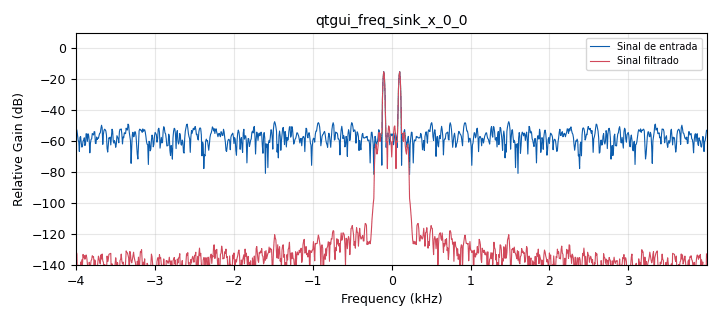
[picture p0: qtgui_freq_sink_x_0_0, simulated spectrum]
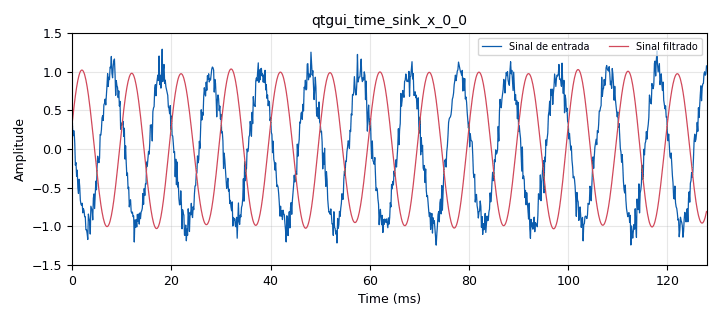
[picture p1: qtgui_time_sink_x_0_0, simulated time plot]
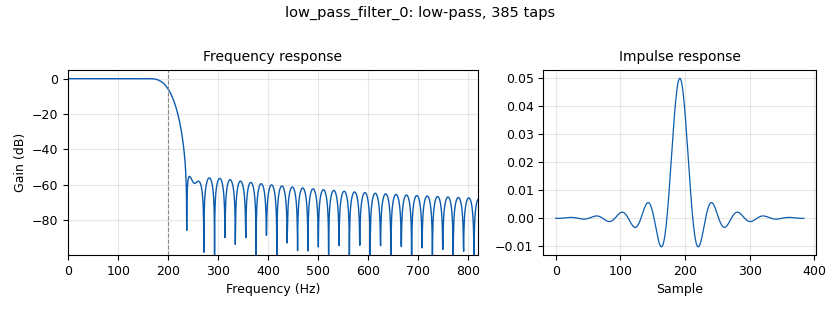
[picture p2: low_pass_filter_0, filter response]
<?xml version='1.0' encoding='utf-8'?>
<?grc format='1' created='3.7.13'?>
<flow_graph>
<block>
<key>options</key>
<param><key>id</key><value>Labo2_2</value></param>
<param><key>author</key><value>Leocarlos B S Lima/Edson P da Silva</value></param>
<param><key>category</key><value>Custom</value></param>
<param><key>description</key><value>Experimento para Laboratório de Princípios de Comunicações. Departamento de Engenharia Elétrica - DEE da Universidade Federal de Campina Grande - UFCG.</value></param>
<param><key>generate_options</key><value>qt_gui</value></param>
<param><key>title</key><value>Relacao sinal-ruido</value></param>
</block>
<block>
<key>variable</key>
<param><key>id</key><value>freqDeCorte</value></param>
<param><key>value</key><value>200</value></param>
</block>
<block>
<key>variable</key>
<param><key>id</key><value>samp_rate</value></param>
<param><key>value</key><value>8000</value></param>
</block>
<block>
<key>analog_noise_source_x</key>
<param><key>id</key><value>analog_noise_source_x_0</value></param>
<param><key>amp</key><value>0.1</value></param>
<param><key>noise_type</key><value>analog.GR_GAUSSIAN</value></param>
<param><key>type</key><value>float</value></param>
<param><key>seed</key><value>0</value></param>
</block>
<block>
<key>analog_sig_source_x</key>
<param><key>id</key><value>analog_sig_source_x_0</value></param>
<param><key>amp</key><value>1</value></param>
<param><key>freq</key><value>100</value></param>
<param><key>offset</key><value>0</value></param>
<param><key>type</key><value>float</value></param>
<param><key>samp_rate</key><value>samp_rate</value></param>
<param><key>waveform</key><value>analog.GR_COS_WAVE</value></param>
</block>
<block>
<key>blocks_add_xx</key>
<param><key>id</key><value>blocks_add_xx_0</value></param>
<param><key>type</key><value>float</value></param>
</block>
<block>
<key>blocks_multiply_xx</key>
<param><key>id</key><value>blocks_multiply_xx_0</value></param>
<param><key>type</key><value>float</value></param>
</block>
<block>
<key>blocks_multiply_xx</key>
<param><key>id</key><value>blocks_multiply_xx_0_0</value></param>
<param><key>type</key><value>float</value></param>
</block>
<block>
<key>blocks_multiply_xx</key>
<param><key>id</key><value>blocks_multiply_xx_0_1</value></param>
<param><key>type</key><value>float</value></param>
</block>
<block>
<key>blocks_multiply_xx</key>
<param><key>id</key><value>blocks_multiply_xx_0_2</value></param>
<param><key>type</key><value>float</value></param>
</block>
<block>
<key>blocks_nlog10_ff</key>
<param><key>id</key><value>blocks_nlog10_ff_0_0</value></param>
<param><key>k</key><value>0</value></param>
<param><key>n</key><value>10</value></param>
</block>
<block>
<key>blocks_nlog10_ff</key>
<param><key>id</key><value>blocks_nlog10_ff_0_0_0</value></param>
<param><key>k</key><value>0</value></param>
<param><key>n</key><value>10</value></param>
</block>
<block>
<key>blocks_nlog10_ff</key>
<param><key>id</key><value>blocks_nlog10_ff_0_1</value></param>
<param><key>k</key><value>0</value></param>
<param><key>n</key><value>10</value></param>
</block>
<block>
<key>blocks_nlog10_ff</key>
<param><key>id</key><value>blocks_nlog10_ff_0_1_0</value></param>
<param><key>k</key><value>0</value></param>
<param><key>n</key><value>10</value></param>
</block>
<block>
<key>blocks_rms_xx</key>
<param><key>id</key><value>blocks_rms_xx_0</value></param>
<param><key>alpha</key><value>0.00001</value></param>
<param><key>type</key><value>float</value></param>
</block>
<block>
<key>blocks_rms_xx</key>
<param><key>id</key><value>blocks_rms_xx_0_0</value></param>
<param><key>alpha</key><value>0.00001</value></param>
<param><key>type</key><value>float</value></param>
</block>
<block>
<key>blocks_rms_xx</key>
<param><key>id</key><value>blocks_rms_xx_0_1</value></param>
<param><key>alpha</key><value>0.00001</value></param>
<param><key>type</key><value>float</value></param>
</block>
<block>
<key>blocks_rms_xx</key>
<param><key>id</key><value>blocks_rms_xx_0_1_0</value></param>
<param><key>alpha</key><value>0.00001</value></param>
<param><key>type</key><value>float</value></param>
</block>
<block>
<key>blocks_sub_xx</key>
<param><key>id</key><value>blocks_sub_xx_0</value></param>
<param><key>type</key><value>float</value></param>
</block>
<block>
<key>blocks_sub_xx</key>
<param><key>id</key><value>blocks_sub_xx_0_0</value></param>
<param><key>type</key><value>float</value></param>
</block>
<block>
<key>blocks_throttle</key>
<param><key>id</key><value>blocks_throttle_0</value></param>
<param><key>samples_per_second</key><value>samp_rate</value></param>
<param><key>type</key><value>float</value></param>
</block>
<block>
<key>low_pass_filter</key>
<param><key>id</key><value>low_pass_filter_0</value></param>
<param><key>cutoff_freq</key><value>freqDeCorte</value></param>
<param><key>decim</key><value>1</value></param>
<param><key>type</key><value>fir_filter_fff</value></param>
<param><key>gain</key><value>1</value></param>
<param><key>samp_rate</key><value>samp_rate</value></param>
<param><key>width</key><value>50</value></param>
<param><key>win</key><value>firdes.WIN_HAMMING</value></param>
</block>
<block>
<key>low_pass_filter</key>
<param><key>id</key><value>low_pass_filter_0_0</value></param>
<param><key>cutoff_freq</key><value>freqDeCorte</value></param>
<param><key>decim</key><value>1</value></param>
<param><key>type</key><value>fir_filter_fff</value></param>
<param><key>gain</key><value>1</value></param>
<param><key>samp_rate</key><value>samp_rate</value></param>
<param><key>width</key><value>50</value></param>
<param><key>win</key><value>firdes.WIN_HAMMING</value></param>
</block>
<block>
<key>low_pass_filter</key>
<param><key>id</key><value>low_pass_filter_0_0_0</value></param>
<param><key>cutoff_freq</key><value>freqDeCorte</value></param>
<param><key>decim</key><value>1</value></param>
<param><key>type</key><value>fir_filter_fff</value></param>
<param><key>gain</key><value>1</value></param>
<param><key>samp_rate</key><value>samp_rate</value></param>
<param><key>width</key><value>50</value></param>
<param><key>win</key><value>firdes.WIN_HAMMING</value></param>
</block>
<block>
<key>qtgui_freq_sink_x</key>
<param><key>id</key><value>qtgui_freq_sink_x_0_0</value></param>
<param><key>bw</key><value>samp_rate</value></param>
<param><key>fc</key><value>0</value></param>
<param><key>fftsize</key><value>1024</value></param>
<param><key>gui_hint</key><value>[0,0,2,4]</value></param>
<param><key>grid</key><value>True</value></param>
<param><key>label1</key><value>Sinal de entrada</value></param>
<param><key>label2</key><value>Sinal filtrado</value></param>
<param><key>nconnections</key><value>2</value></param>
<param><key>showports</key><value>True</value></param>
<param><key>type</key><value>float</value></param>
<param><key>wintype</key><value>firdes.WIN_BLACKMAN_hARRIS</value></param>
</block>
<block>
<key>qtgui_number_sink</key>
<param><key>id</key><value>qtgui_number_sink_0</value></param>
<param><key>avg</key><value>0.1</value></param>
<param><key>gui_hint</key><value>[0,4,1,1]</value></param>
<param><key>graph_type</key><value>qtgui.NUM_GRAPH_NONE</value></param>
<param><key>type</key><value>float</value></param>
<param><key>name</key><value>SNR entrada do filtro (dB)</value></param>
</block>
<block>
<key>qtgui_number_sink</key>
<param><key>id</key><value>qtgui_number_sink_0_0</value></param>
<param><key>avg</key><value>0.1</value></param>
<param><key>gui_hint</key><value>[1,4,1,1]</value></param>
<param><key>graph_type</key><value>qtgui.NUM_GRAPH_NONE</value></param>
<param><key>type</key><value>float</value></param>
<param><key>name</key><value>SNR saida do filtro (dB)</value></param>
</block>
<block>
<key>qtgui_time_sink_x</key>
<param><key>id</key><value>qtgui_time_sink_x_0_0</value></param>
<param><key>gui_hint</key><value>[3,0,2,4]</value></param>
<param><key>grid</key><value>True</value></param>
<param><key>color1</key><value>"blue"</value></param>
<param><key>label1</key><value>Sinal de entrada</value></param>
<param><key>color2</key><value>"red"</value></param>
<param><key>label2</key><value>Sinal filtrado</value></param>
<param><key>nconnections</key><value>2</value></param>
<param><key>size</key><value>1024</value></param>
<param><key>srate</key><value>samp_rate</value></param>
<param><key>type</key><value>float</value></param>
<param><key>ymax</key><value>1.5</value></param>
<param><key>ymin</key><value>-1.5</value></param>
</block>
<connection><source_block_id>analog_noise_source_x_0</source_block_id><sink_block_id>blocks_add_xx_0</sink_block_id><source_key>0</source_key><sink_key>1</sink_key></connection>
<connection><source_block_id>analog_noise_source_x_0</source_block_id><sink_block_id>blocks_rms_xx_0_1</sink_block_id><source_key>0</source_key><sink_key>0</sink_key></connection>
<connection><source_block_id>analog_noise_source_x_0</source_block_id><sink_block_id>low_pass_filter_0_0_0</sink_block_id><source_key>0</source_key><sink_key>0</sink_key></connection>
<connection><source_block_id>analog_sig_source_x_0</source_block_id><sink_block_id>blocks_rms_xx_0</sink_block_id><source_key>0</source_key><sink_key>0</sink_key></connection>
<connection><source_block_id>analog_sig_source_x_0</source_block_id><sink_block_id>blocks_throttle_0</sink_block_id><source_key>0</source_key><sink_key>0</sink_key></connection>
<connection><source_block_id>analog_sig_source_x_0</source_block_id><sink_block_id>low_pass_filter_0_0</sink_block_id><source_key>0</source_key><sink_key>0</sink_key></connection>
<connection><source_block_id>blocks_add_xx_0</source_block_id><sink_block_id>low_pass_filter_0</sink_block_id><source_key>0</source_key><sink_key>0</sink_key></connection>
<connection><source_block_id>blocks_add_xx_0</source_block_id><sink_block_id>qtgui_freq_sink_x_0_0</sink_block_id><source_key>0</source_key><sink_key>0</sink_key></connection>
<connection><source_block_id>blocks_add_xx_0</source_block_id><sink_block_id>qtgui_time_sink_x_0_0</sink_block_id><source_key>0</source_key><sink_key>0</sink_key></connection>
<connection><source_block_id>blocks_multiply_xx_0</source_block_id><sink_block_id>blocks_nlog10_ff_0_1</sink_block_id><source_key>0</source_key><sink_key>0</sink_key></connection>
<connection><source_block_id>blocks_multiply_xx_0_0</source_block_id><sink_block_id>blocks_nlog10_ff_0_0</sink_block_id><source_key>0</source_key><sink_key>0</sink_key></connection>
<connection><source_block_id>blocks_multiply_xx_0_1</source_block_id><sink_block_id>blocks_nlog10_ff_0_1_0</sink_block_id><source_key>0</source_key><sink_key>0</sink_key></connection>
<connection><source_block_id>blocks_multiply_xx_0_2</source_block_id><sink_block_id>blocks_nlog10_ff_0_0_0</sink_block_id><source_key>0</source_key><sink_key>0</sink_key></connection>
<connection><source_block_id>blocks_nlog10_ff_0_0</source_block_id><sink_block_id>blocks_sub_xx_0</sink_block_id><source_key>0</source_key><sink_key>1</sink_key></connection>
<connection><source_block_id>blocks_nlog10_ff_0_0_0</source_block_id><sink_block_id>blocks_sub_xx_0_0</sink_block_id><source_key>0</source_key><sink_key>1</sink_key></connection>
<connection><source_block_id>blocks_nlog10_ff_0_1</source_block_id><sink_block_id>blocks_sub_xx_0</sink_block_id><source_key>0</source_key><sink_key>0</sink_key></connection>
<connection><source_block_id>blocks_nlog10_ff_0_1_0</source_block_id><sink_block_id>blocks_sub_xx_0_0</sink_block_id><source_key>0</source_key><sink_key>0</sink_key></connection>
<connection><source_block_id>blocks_rms_xx_0</source_block_id><sink_block_id>blocks_multiply_xx_0</sink_block_id><source_key>0</source_key><sink_key>0</sink_key></connection>
<connection><source_block_id>blocks_rms_xx_0</source_block_id><sink_block_id>blocks_multiply_xx_0</sink_block_id><source_key>0</source_key><sink_key>1</sink_key></connection>
<connection><source_block_id>blocks_rms_xx_0_0</source_block_id><sink_block_id>blocks_multiply_xx_0_1</sink_block_id><source_key>0</source_key><sink_key>0</sink_key></connection>
<connection><source_block_id>blocks_rms_xx_0_0</source_block_id><sink_block_id>blocks_multiply_xx_0_1</sink_block_id><source_key>0</source_key><sink_key>1</sink_key></connection>
<connection><source_block_id>blocks_rms_xx_0_1</source_block_id><sink_block_id>blocks_multiply_xx_0_0</sink_block_id><source_key>0</source_key><sink_key>0</sink_key></connection>
<connection><source_block_id>blocks_rms_xx_0_1</source_block_id><sink_block_id>blocks_multiply_xx_0_0</sink_block_id><source_key>0</source_key><sink_key>1</sink_key></connection>
<connection><source_block_id>blocks_rms_xx_0_1_0</source_block_id><sink_block_id>blocks_multiply_xx_0_2</sink_block_id><source_key>0</source_key><sink_key>0</sink_key></connection>
<connection><source_block_id>blocks_rms_xx_0_1_0</source_block_id><sink_block_id>blocks_multiply_xx_0_2</sink_block_id><source_key>0</source_key><sink_key>1</sink_key></connection>
<connection><source_block_id>blocks_sub_xx_0</source_block_id><sink_block_id>qtgui_number_sink_0</sink_block_id><source_key>0</source_key><sink_key>0</sink_key></connection>
<connection><source_block_id>blocks_sub_xx_0_0</source_block_id><sink_block_id>qtgui_number_sink_0_0</sink_block_id><source_key>0</source_key><sink_key>0</sink_key></connection>
<connection><source_block_id>blocks_throttle_0</source_block_id><sink_block_id>blocks_add_xx_0</sink_block_id><source_key>0</source_key><sink_key>0</sink_key></connection>
<connection><source_block_id>low_pass_filter_0</source_block_id><sink_block_id>qtgui_freq_sink_x_0_0</sink_block_id><source_key>0</source_key><sink_key>1</sink_key></connection>
<connection><source_block_id>low_pass_filter_0</source_block_id><sink_block_id>qtgui_time_sink_x_0_0</sink_block_id><source_key>0</source_key><sink_key>1</sink_key></connection>
<connection><source_block_id>low_pass_filter_0_0</source_block_id><sink_block_id>blocks_rms_xx_0_0</sink_block_id><source_key>0</source_key><sink_key>0</sink_key></connection>
<connection><source_block_id>low_pass_filter_0_0_0</source_block_id><sink_block_id>blocks_rms_xx_0_1_0</sink_block_id><source_key>0</source_key><sink_key>0</sink_key></connection>
</flow_graph>
